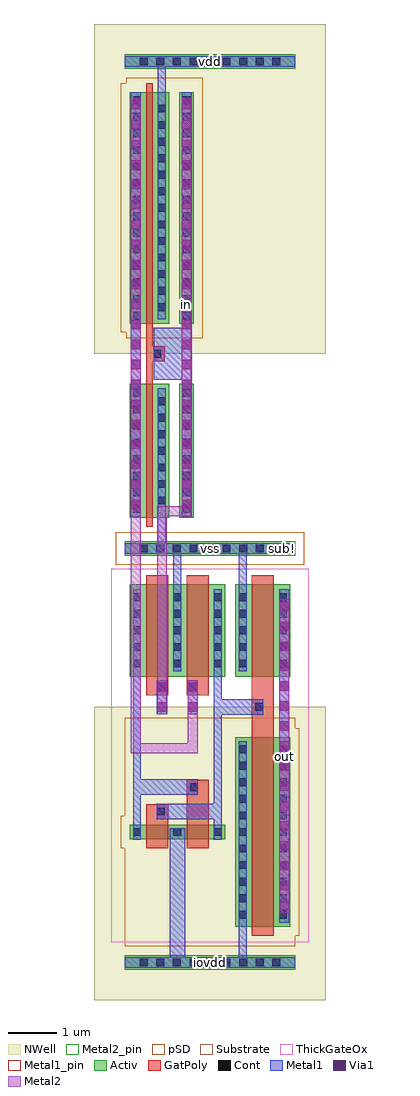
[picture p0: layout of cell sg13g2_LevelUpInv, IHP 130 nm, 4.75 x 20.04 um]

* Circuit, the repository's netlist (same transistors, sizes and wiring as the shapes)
** sch_path: /home/designer/shared/ihp2603/openpdk-libraries/ihp-sg13g2/sg13g2_io/xschem/sg13g2_LevelUpInv.sch
.subckt sg13g2_LevelUpInv iovdd vss in out vdd sub
*.PININFO iovdd:B vss:B out:B in:B vdd:B sub:B
R1 vss sub ptap1 A=1.053p P=7.62u
M1 net1 in vss sub sg13_hv_nmos w=1.9u l=0.45u ng=1 m=1
M3 net1 net2 iovdd iovdd sg13_hv_pmos w=0.3u l=0.45u ng=1 m=1
M4 net2 net1 iovdd iovdd sg13_hv_pmos w=0.3u l=0.45u ng=1 m=1
M5 out net2 iovdd iovdd sg13_hv_pmos w=3.9u l=0.45u ng=1 m=1
M2 net2 net3 vss sub sg13_hv_nmos w=1.9u l=0.45u ng=1 m=1
M6 out net2 vss sub sg13_hv_nmos w=1.9u l=0.45u ng=1 m=1
M7 net3 in vss sub sg13_lv_nmos w=2.75u l=0.13u ng=1 m=1
M8 net3 in vdd vdd sg13_lv_pmos w=4.75u l=0.13u ng=1 m=1
.ends

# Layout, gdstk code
import gdstk
lib = gdstk.Library(unit=1e-6, precision=5e-09)
def R(c, l, rs):  # rectangles x0, y0, x1, y1
    for r in rs: c.add(gdstk.rectangle(r[:2], r[2:], *l))
def A(c, l, x, y, w, h, nx, ny, dx, dy):  # array of equal rectangles
    R(c, l, [(x+i*dx, y+j*dy, x+i*dx+w, y+j*dy+h) for i in range(nx) for j in range(ny)])
def P(c, l, *ps):  # polygons
    for p in ps: c.add(gdstk.Polygon(p, *l))
Activ = (1, 0)
GatPoly = (5, 0)
Cont = (6, 0)
Metal1 = (8, 0)
Metal1_pin = (8, 2)
Metal2 = (10, 0)
Metal2_pin = (10, 2)
pSD = (14, 0)
Via1 = (19, 0)
NWell = (31, 0)
Substrate = (40, 0)
ThickGateOx = (44, 0)

sg13g2_levelupinv = lib.new_cell('sg13g2_LevelUpInv')
R(sg13g2_levelupinv, Activ, [(0,-0.15,3.51,0.15), (2.275,0.73,3.405,4.63), (0.105,2.53,2.065,2.83), (0.105,5.87,1.235,7.77), (1.15,5.87,1.85,7.77), (1.765,5.87,2.065,7.77), (2.275,5.87,3.405,7.77), (0,8.35,3.51,8.65), (0.105,9.13,0.915,11.88), (1.125,9.13,1.425,11.88), (0.105,13.12,0.915,17.87), (1.125,13.12,1.425,17.87), (0,18.35,3.51,18.65)])
R(sg13g2_levelupinv, GatPoly, [(2.615,0.55,3.065,7.95), (0.445,2.35,0.895,3.01), (0.445,2.35,0.895,3.25), (1.275,2.35,1.725,3.75), (1.275,3.45,1.575,3.75), (0.445,5.49,0.895,7.95), (0.595,5.49,0.895,5.79), (1.275,5.49,1.575,5.79), (1.275,5.49,1.725,7.95), (0.445,5.69,0.895,7.95), (1.275,5.69,1.725,7.95)])
P(sg13g2_levelupinv, GatPoly, [(0.445,8.95),(0.445,18.05),(0.575,18.05),(0.575,12.65),(0.825,12.65),(0.825,12.35),(0.575,12.35),(0.575,8.95)])
A(sg13g2_levelupinv, Cont, 0.315, -0.08, 0.16, 0.16, 9, 2, 0.34, 8.5)
A(sg13g2_levelupinv, Cont, 2.345, 0.9, 0.16, 0.16, 1, 11, 0, 0.34)
A(sg13g2_levelupinv, Cont, 3.175, 0.9, 0.16, 0.16, 1, 11, 0, 0.34)
A(sg13g2_levelupinv, Cont, 0.175, 2.6, 0.16, 0.16, 3, 2, 0.83, 3.46)
A(sg13g2_levelupinv, Cont, 2.345, 6.06, 0.16, 0.16, 1, 5, 0, 0.34)
A(sg13g2_levelupinv, Cont, 3.175, 6.06, 0.16, 0.16, 1, 5, 0, 0.34)
A(sg13g2_levelupinv, Cont, 0.175, 6.4, 0.16, 0.16, 3, 4, 0.83, 0.34)
A(sg13g2_levelupinv, Cont, 0.175, 9.235, 0.16, 0.16, 1, 8, 0, 0.34)
A(sg13g2_levelupinv, Cont, 1.195, 9.235, 0.16, 0.16, 1, 8, 0, 0.34)
A(sg13g2_levelupinv, Cont, 0.685, 9.405, 0.16, 0.16, 1, 7, 0, 0.34)
A(sg13g2_levelupinv, Cont, 0.175, 13.205, 0.16, 0.16, 1, 14, 0, 0.34)
A(sg13g2_levelupinv, Cont, 1.195, 13.205, 0.16, 0.16, 1, 14, 0, 0.34)
A(sg13g2_levelupinv, Cont, 0.685, 13.375, 0.16, 0.16, 1, 13, 0, 0.34)
A(sg13g2_levelupinv, Cont, 0.315, 18.42, 0.16, 0.16, 9, 1, 0.34, 0)
R(sg13g2_levelupinv, Cont, [(0.665,3.02,0.825,3.18), (1.345,3.52,1.505,3.68), (2.685,5.17,2.845,5.33), (0.665,5.56,0.825,5.72), (1.345,5.56,1.505,5.72), (0.595,12.42,0.755,12.58)])
R(sg13g2_levelupinv, Metal1, [(3.175,0.82,3.385,7.66), (0.665,2.94,0.825,3.26), (1.345,3.44,1.505,3.76), (0.665,5.1,0.875,5.8), (1.295,5.1,1.505,5.8), (0.665,5.48,0.825,5.8), (1.345,5.48,1.505,5.8), (0.125,9.155,0.335,17.865)])
P(sg13g2_levelupinv, Metal1, [(1.835,2.52),(1.835,2.94),(0.665,2.94),(0.665,3.26),(1.835,3.26),(1.835,7.66),(1.995,7.66),(1.995,5.41),(2.845,5.41),(2.845,5.09),(1.995,5.09),(1.995,2.52)],
  [(0,-0.105),(0,0.105),(0.925,0.105),(0.925,2.76),(1.245,2.76),(1.245,0.105),(2.345,0.105),(2.345,4.54),(2.505,4.54),(2.505,0.105),(3.51,0.105),(3.51,-0.105)],
  [(0.175,2.52),(0.175,7.66),(0.335,7.66),(0.335,3.76),(1.505,3.76),(1.505,3.44),(0.335,3.44),(0.335,2.52)],
  [(1.17,9.155),(1.17,11.97),(0.595,11.97),(0.595,13.03),(1.17,13.03),(1.17,17.865),(1.38,17.865),(1.38,9.155)],
  [(1.005,5.98),(1.005,8.395),(0,8.395),(0,8.605),(0.685,8.605),(0.685,11.79),(0.845,11.79),(0.845,8.605),(3.51,8.605),(3.51,8.395),(2.505,8.395),(2.505,5.98),(2.345,5.98),(2.345,8.395),(1.165,8.395),(1.165,5.98)],
  [(0.685,13.21),(0.685,18.395),(0,18.395),(0,18.605),(3.51,18.605),(3.51,18.395),(0.845,18.395),(0.845,13.21)])
R(sg13g2_levelupinv, Metal1_pin, [(0,-0.105,3.51,0.105), (0,8.395,3.51,8.605), (0,18.395,3.51,18.605)])
R(sg13g2_levelupinv, Metal2, [(3.18,1.02,3.38,7.46), (0.67,5.1,0.87,5.8), (1.3,5.1,1.5,5.8), (1.175,9.265,1.375,17.755)])
P(sg13g2_levelupinv, Metal2, [(0.13,4.3),(0.13,17.755),(0.33,17.755),(0.33,4.5),(1.3,4.5),(1.3,5.1),(1.5,5.1),(1.5,4.3)],
  [(0.67,5.8),(0.67,9.365),(1.375,9.365),(1.375,9.165),(0.87,9.165),(0.87,5.8)])
R(sg13g2_levelupinv, Metal2_pin, [(3.18,1.02,3.38,7.46), (1.175,9.265,1.375,17.755)])
R(sg13g2_levelupinv, pSD, [(-0.18,8.17,3.69,8.83)])
P(sg13g2_levelupinv, pSD, [(0.035,12.82),(0.035,12.94),(-0.075,12.94),(-0.075,18.05),(0.035,18.05),(0.035,18.17),(1.605,18.17),(1.605,12.82)],
  [(0,0.33),(0,2.35),(-0.075,2.35),(-0.075,3.01),(0,3.01),(0,5.03),(3.51,5.03),(3.51,4.81),(3.585,4.81),(3.585,0.55),(3.51,0.55),(3.51,0.33)])
A(sg13g2_levelupinv, Via1, 3.185, 1.07, 0.19, 0.19, 1, 16, 0, 0.41)
A(sg13g2_levelupinv, Via1, 0.135, 9.315, 0.19, 0.19, 1, 21, 0, 0.41)
A(sg13g2_levelupinv, Via1, 1.18, 9.315, 0.19, 0.19, 1, 21, 0, 0.41)
R(sg13g2_levelupinv, Via1, [(0.675,5.15,0.865,5.34), (1.305,5.15,1.495,5.34), (0.675,5.56,0.865,5.75), (1.305,5.56,1.495,5.75)])
R(sg13g2_levelupinv, NWell, [(-0.62,-0.77,4.13,5.25), (-0.62,12.5,4.13,19.27)])
R(sg13g2_levelupinv, Substrate, [(0,8.35,3.51,8.65)])
R(sg13g2_levelupinv, ThickGateOx, [(-0.27,0.42,3.78,8.08)])
sg13g2_levelupinv.add(gdstk.Label('in', (1.275,13.51), layer=10, texttype=25))
sg13g2_levelupinv.add(gdstk.Label('out', (3.28,4.24), layer=10, texttype=25))
sg13g2_levelupinv.add(gdstk.Label('sub!', (3.25,8.51), layer=63, texttype=0))
sg13g2_levelupinv.add(gdstk.Label('iovdd', (1.755,0), layer=8, texttype=25))
sg13g2_levelupinv.add(gdstk.Label('vss', (1.755,8.5), layer=8, texttype=25))
sg13g2_levelupinv.add(gdstk.Label('vdd', (1.755,18.5), layer=8, texttype=25))

lib.write_gds('sg13g2_LevelUpInv.gds')
